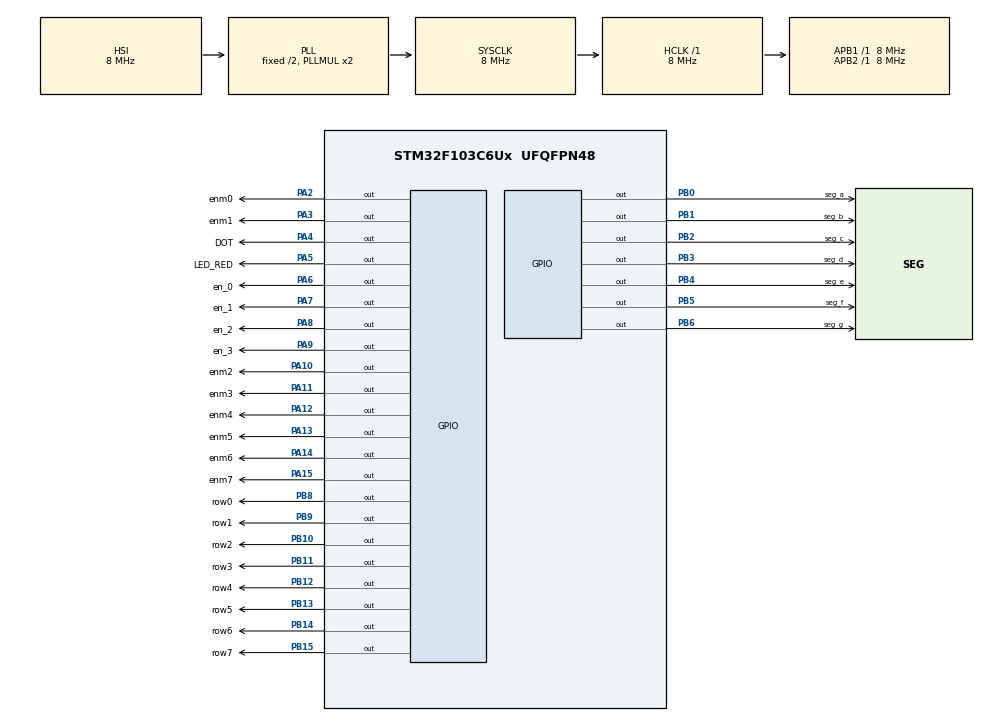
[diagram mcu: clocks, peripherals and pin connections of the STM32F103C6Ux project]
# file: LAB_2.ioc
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Mcu.Family=STM32F1
Mcu.Name=STM32F103C6Ux
Mcu.Package=UFQFPN48
NVIC.PriorityGroup=NVIC_PRIORITYGROUP_4
NVIC.TIM2_IRQn=true\:0\:0\:false\:false\:true\:true\:true\:true
PA10.GPIO_Label=enm2
PA10.Signal=GPIO_Output
PA11.GPIO_Label=enm3
PA11.Signal=GPIO_Output
PA12.GPIO_Label=enm4
PA12.Signal=GPIO_Output
PA13.GPIO_Label=enm5
PA13.Signal=GPIO_Output
PA14.GPIO_Label=enm6
PA14.Signal=GPIO_Output
PA15.GPIO_Label=enm7
PA15.Signal=GPIO_Output
PA2.GPIO_Label=enm0
PA2.Signal=GPIO_Output
PA3.GPIO_Label=enm1
PA3.Signal=GPIO_Output
PA4.GPIO_Label=DOT
PA4.Signal=GPIO_Output
PA5.GPIO_Label=LED_RED
PA5.Signal=GPIO_Output
PA6.GPIO_Label=en_0
PA6.Signal=GPIO_Output
PA7.GPIO_Label=en_1
PA7.Signal=GPIO_Output
PA8.GPIO_Label=en_2
PA8.Signal=GPIO_Output
PA9.GPIO_Label=en_3
PA9.Signal=GPIO_Output
PB0.GPIO_Label=seg_a
PB0.Signal=GPIO_Output
PB1.GPIO_Label=seg_b
PB1.Signal=GPIO_Output
PB10.GPIO_Label=row2
PB10.Signal=GPIO_Output
PB11.GPIO_Label=row3
PB11.Signal=GPIO_Output
PB12.GPIO_Label=row4
PB12.Signal=GPIO_Output
PB13.GPIO_Label=row5
PB13.Signal=GPIO_Output
PB14.GPIO_Label=row6
PB14.Signal=GPIO_Output
PB15.GPIO_Label=row7
PB15.Signal=GPIO_Output
PB2.GPIO_Label=seg_c
PB2.Signal=GPIO_Output
PB3.GPIO_Label=seg_d
PB3.Signal=GPIO_Output
PB4.GPIO_Label=seg_e
PB4.Signal=GPIO_Output
PB5.GPIO_Label=seg_f
PB5.Signal=GPIO_Output
PB6.GPIO_Label=seg_g
PB6.Signal=GPIO_Output
PB8.GPIO_Label=row0
PB8.Signal=GPIO_Output
PB9.GPIO_Label=row1
PB9.Signal=GPIO_Output
ProjectManager.HeapSize=0x200
ProjectManager.StackSize=0x400
ProjectManager.TargetToolchain=STM32CubeIDE
RCC.AHBFreq_Value=8000000
RCC.APB1Freq_Value=8000000
RCC.APB1TimFreq_Value=8000000
RCC.APB2Freq_Value=8000000
RCC.APB2TimFreq_Value=8000000
RCC.HCLKFreq_Value=8000000
RCC.SYSCLKFreq_VALUE=8000000
RCC.SYSCLKSource=RCC_SYSCLKSOURCE_PLLCLK
RCC.USBFreq_Value=8000000
TIM2.Period=9
TIM2.Prescaler=7999
VP_SYS_VS_ND.Mode=No_Debug
VP_TIM2_VS_ClockSourceINT.Mode=Internal
board=custom

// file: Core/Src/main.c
/* USER CODE BEGIN Header */
/**
  ******************************************************************************
  * @file           : main.c
  * @course			: MPU - MCU
  * @lab number		: 2
  * @exercises		: 1 to 10
  * @brief          : Led multiplex and led matrix
  ******************************************************************************
  * @attention
  *
  * Copyright (c) 2025 STMicroelectronics.
  * All rights reserved.
  *
  * This software is licensed under terms that can be found in the LICENSE file
  * in the root directory of this software component.
  * If no LICENSE file comes with this software, it is provided AS-IS.
  *
  ******************************************************************************
  */
/* USER CODE END Header */
#include "main.h"

/* USER CODE BEGIN Includes */
#include "timer.h"
/* USER CODE END Includes */

/* USER CODE BEGIN PTD */
GPIO_TypeDef* COL_PORT[8] = {GPIOA, GPIOA, GPIOA, GPIOA, GPIOA, GPIOA, GPIOA, GPIOA};
uint16_t COL_PIN[8] = {enm0_Pin, enm1_Pin, enm2_Pin, enm3_Pin,
                       enm4_Pin, enm5_Pin, enm6_Pin, enm7_Pin};

GPIO_TypeDef* ROW_PORT[8] = {GPIOB, GPIOB, GPIOB, GPIOB, GPIOB, GPIOB, GPIOB, GPIOB};
uint16_t ROW_PIN[8] = {row0_Pin, row1_Pin, row2_Pin, row3_Pin,
                       row4_Pin, row5_Pin, row6_Pin, row7_Pin};
/* USER CODE END PTD */

TIM_HandleTypeDef htim2;

/* USER CODE BEGIN PV */
const int MAX_LED = 4;
int index_led = 0;
int led_buffer[4] = {1, 2, 3, 4};
int hour = 12, minute = 34, second = 50;

const int MAX_LED_MATRIX = 8;
int index_led_matrix = 0;
int current_col = 0;
uint8_t matrix_buffer[8];

uint8_t letter_A[8] = {
  0b00000000,
  0b00000000,
  0b01111100,
  0b00010010,
  0b00010010,
  0b01111100,
  0b00000000,
  0b00000000
};
/* USER CODE END PV */

void SystemClock_Config(void);
static void MX_GPIO_Init(void);
static void MX_TIM2_Init(void);

/* USER CODE BEGIN 0 */
void display7SEG(int num) {
	switch (num) {
	case 0:
		HAL_GPIO_WritePin(seg_a_GPIO_Port, seg_a_Pin, 0);
		HAL_GPIO_WritePin(seg_b_GPIO_Port, seg_b_Pin, 0);
		HAL_GPIO_WritePin(seg_c_GPIO_Port, seg_c_Pin, 0);
		HAL_GPIO_WritePin(seg_d_GPIO_Port, seg_d_Pin, 0);
		HAL_GPIO_WritePin(seg_e_GPIO_Port, seg_e_Pin, 0);
		HAL_GPIO_WritePin(seg_f_GPIO_Port, seg_f_Pin, 0);
		HAL_GPIO_WritePin(seg_g_GPIO_Port, seg_g_Pin, 1);
		break;
	case 1:
		HAL_GPIO_WritePin(seg_a_GPIO_Port, seg_a_Pin, 1);
		HAL_GPIO_WritePin(seg_b_GPIO_Port, seg_b_Pin, 0);
		HAL_GPIO_WritePin(seg_c_GPIO_Port, seg_c_Pin, 0);
		HAL_GPIO_WritePin(seg_d_GPIO_Port, seg_d_Pin, 1);
		HAL_GPIO_WritePin(seg_e_GPIO_Port, seg_e_Pin, 1);
		HAL_GPIO_WritePin(seg_f_GPIO_Port, seg_f_Pin, 1);
		HAL_GPIO_WritePin(seg_g_GPIO_Port, seg_g_Pin, 1);
		break;
	case 2:
		HAL_GPIO_WritePin(seg_a_GPIO_Port, seg_a_Pin, 0);
		HAL_GPIO_WritePin(seg_b_GPIO_Port, seg_b_Pin, 0);
		HAL_GPIO_WritePin(seg_c_GPIO_Port, seg_c_Pin, 1);
		HAL_GPIO_WritePin(seg_d_GPIO_Port, seg_d_Pin, 0);
		HAL_GPIO_WritePin(seg_e_GPIO_Port, seg_e_Pin, 0);
		HAL_GPIO_WritePin(seg_f_GPIO_Port, seg_f_Pin, 1);
		HAL_GPIO_WritePin(seg_g_GPIO_Port, seg_g_Pin, 0);
		break;
	case 3:
		HAL_GPIO_WritePin(seg_a_GPIO_Port, seg_a_Pin, 0);
		HAL_GPIO_WritePin(seg_b_GPIO_Port, seg_b_Pin, 0);
		HAL_GPIO_WritePin(seg_c_GPIO_Port, seg_c_Pin, 0);
		HAL_GPIO_WritePin(seg_d_GPIO_Port, seg_d_Pin, 0);
		HAL_GPIO_WritePin(seg_e_GPIO_Port, seg_e_Pin, 1);
		HAL_GPIO_WritePin(seg_f_GPIO_Port, seg_f_Pin, 1);
		HAL_GPIO_WritePin(seg_g_GPIO_Port, seg_g_Pin, 0);
		break;
	case 4:
		HAL_GPIO_WritePin(seg_a_GPIO_Port, seg_a_Pin, 1);
		HAL_GPIO_WritePin(seg_b_GPIO_Port, seg_b_Pin, 0);
		HAL_GPIO_WritePin(seg_c_GPIO_Port, seg_c_Pin, 0);
		HAL_GPIO_WritePin(seg_d_GPIO_Port, seg_d_Pin, 1);
		HAL_GPIO_WritePin(seg_e_GPIO_Port, seg_e_Pin, 1);
		HAL_GPIO_WritePin(seg_f_GPIO_Port, seg_f_Pin, 0);
		HAL_GPIO_WritePin(seg_g_GPIO_Port, seg_g_Pin, 0);
		break;
	case 5:
		HAL_GPIO_WritePin(seg_a_GPIO_Port, seg_a_Pin, 0);
		HAL_GPIO_WritePin(seg_b_GPIO_Port, seg_b_Pin, 1);
		HAL_GPIO_WritePin(seg_c_GPIO_Port, seg_c_Pin, 0);
		HAL_GPIO_WritePin(seg_d_GPIO_Port, seg_d_Pin, 0);
		HAL_GPIO_WritePin(seg_e_GPIO_Port, seg_e_Pin, 1);
		HAL_GPIO_WritePin(seg_f_GPIO_Port, seg_f_Pin, 0);
		HAL_GPIO_WritePin(seg_g_GPIO_Port, seg_g_Pin, 0);
		break;
	case 6:
		HAL_GPIO_WritePin(seg_a_GPIO_Port, seg_a_Pin, 0);
		HAL_GPIO_WritePin(seg_b_GPIO_Port, seg_b_Pin, 1);
		HAL_GPIO_WritePin(seg_c_GPIO_Port, seg_c_Pin, 0);
		HAL_GPIO_WritePin(seg_d_GPIO_Port, seg_d_Pin, 0);
		HAL_GPIO_WritePin(seg_e_GPIO_Port, seg_e_Pin, 0);
		HAL_GPIO_WritePin(seg_f_GPIO_Port, seg_f_Pin, 0);
		HAL_GPIO_WritePin(seg_g_GPIO_Port, seg_g_Pin, 0);
		break;
	case 7:
		HAL_GPIO_WritePin(seg_a_GPIO_Port, seg_a_Pin, 0);
		HAL_GPIO_WritePin(seg_b_GPIO_Port, seg_b_Pin, 0);
		HAL_GPIO_WritePin(seg_c_GPIO_Port, seg_c_Pin, 0);
		HAL_GPIO_WritePin(seg_d_GPIO_Port, seg_d_Pin, 1);
		HAL_GPIO_WritePin(seg_e_GPIO_Port, seg_e_Pin, 1);
		HAL_GPIO_WritePin(seg_f_GPIO_Port, seg_f_Pin, 1);
		HAL_GPIO_WritePin(seg_g_GPIO_Port, seg_g_Pin, 1);
		break;
	case 8:
		HAL_GPIO_WritePin(seg_a_GPIO_Port, seg_a_Pin, 0);
		HAL_GPIO_WritePin(seg_b_GPIO_Port, seg_b_Pin, 0);
		HAL_GPIO_WritePin(seg_c_GPIO_Port, seg_c_Pin, 0);
		HAL_GPIO_WritePin(seg_d_GPIO_Port, seg_d_Pin, 0);
		HAL_GPIO_WritePin(seg_e_GPIO_Port, seg_e_Pin, 0);
		HAL_GPIO_WritePin(seg_f_GPIO_Port, seg_f_Pin, 0);
		HAL_GPIO_WritePin(seg_g_GPIO_Port, seg_g_Pin, 0);
		break;
	case 9:
		HAL_GPIO_WritePin(seg_a_GPIO_Port, seg_a_Pin, 0);
		HAL_GPIO_WritePin(seg_b_GPIO_Port, seg_b_Pin, 0);
		HAL_GPIO_WritePin(seg_c_GPIO_Port, seg_c_Pin, 0);
		HAL_GPIO_WritePin(seg_d_GPIO_Port, seg_d_Pin, 0);
		HAL_GPIO_WritePin(seg_e_GPIO_Port, seg_e_Pin, 1);
		HAL_GPIO_WritePin(seg_f_GPIO_Port, seg_f_Pin, 0);
		HAL_GPIO_WritePin(seg_g_GPIO_Port, seg_g_Pin, 0);
		break;
	default:
		HAL_GPIO_WritePin(seg_a_GPIO_Port, seg_a_Pin, 1);
		HAL_GPIO_WritePin(seg_b_GPIO_Port, seg_b_Pin, 1);
		HAL_GPIO_WritePin(seg_c_GPIO_Port, seg_c_Pin, 1);
		HAL_GPIO_WritePin(seg_d_GPIO_Port, seg_d_Pin, 1);
		HAL_GPIO_WritePin(seg_e_GPIO_Port, seg_e_Pin, 1);
		HAL_GPIO_WritePin(seg_f_GPIO_Port, seg_f_Pin, 1);
		HAL_GPIO_WritePin(seg_g_GPIO_Port, seg_g_Pin, 1);
	}
}
void ex1() {
	static uint8_t segled1_on = 1;
	if (segled1_on) {
		HAL_GPIO_WritePin(en_0_GPIO_Port, en_0_Pin, 0);
		HAL_GPIO_WritePin(en_1_GPIO_Port, en_1_Pin, 1);
		display7SEG(1);
	}
	else {
		HAL_GPIO_WritePin(en_0_GPIO_Port, en_0_Pin, 1);
		HAL_GPIO_WritePin(en_1_GPIO_Port, en_1_Pin, 0);
		display7SEG(2);
	}

	if (timer1_flag == 1) {
		segled1_on = !segled1_on;
		setTimer1(50);						// setTimer1() resets timer1_flag
	}
}
void ex2() {
	static uint8_t state1 = 0;				// 4 7segment leds
	static uint8_t state2 = 1;				// blink 2 leds DOT

	switch (state1) {
	 case 0:
		HAL_GPIO_WritePin(en_0_GPIO_Port, en_0_Pin, 0);
		HAL_GPIO_WritePin(en_1_GPIO_Port, en_1_Pin, 1);
		HAL_GPIO_WritePin(en_2_GPIO_Port, en_2_Pin, 1);
		HAL_GPIO_WritePin(en_3_GPIO_Port, en_3_Pin, 1);
		display7SEG(1);
		break;
	 case 1:
		HAL_GPIO_WritePin(en_0_GPIO_Port, en_0_Pin, 1);
		HAL_GPIO_WritePin(en_1_GPIO_Port, en_1_Pin, 0);
		HAL_GPIO_WritePin(en_2_GPIO_Port, en_2_Pin, 1);
		HAL_GPIO_WritePin(en_3_GPIO_Port, en_3_Pin, 1);
		display7SEG(2);
		break;
	 case 2:
		HAL_GPIO_WritePin(en_0_GPIO_Port, en_0_Pin, 1);
		HAL_GPIO_WritePin(en_1_GPIO_Port, en_1_Pin, 1);
		HAL_GPIO_WritePin(en_2_GPIO_Port, en_2_Pin, 0);
		HAL_GPIO_WritePin(en_3_GPIO_Port, en_3_Pin, 1);
		display7SEG(3);
		break;
	 case 3:
		HAL_GPIO_WritePin(en_0_GPIO_Port, en_0_Pin, 1);
		HAL_GPIO_WritePin(en_1_GPIO_Port, en_1_Pin, 1);
		HAL_GPIO_WritePin(en_2_GPIO_Port, en_2_Pin, 1);
		HAL_GPIO_WritePin(en_3_GPIO_Port, en_3_Pin, 0);
		display7SEG(0);
		break;
	 default:
		display7SEG(9);
	}

	if (state2) {
		HAL_GPIO_WritePin(DOT_GPIO_Port, DOT_Pin, 0);
	}
	else {
		HAL_GPIO_WritePin(DOT_GPIO_Port, DOT_Pin, 1);
	}

	if (timer1_flag == 1) {
		state1++;
		if (state1 > 3) {
			state1 = 0;
		}
		setTimer1(50);						// setTimer1() resets timer1_flag
	}
	if (timer2_flag == 1) {
		state2 = !state2;
		setTimer2(100);
	}
}
void update7SEG(int index){
	switch (index){
		case 0:
			HAL_GPIO_WritePin(en_0_GPIO_Port, en_0_Pin, 0);
			HAL_GPIO_WritePin(en_1_GPIO_Port, en_1_Pin, 1);
			HAL_GPIO_WritePin(en_2_GPIO_Port, en_2_Pin, 1);
			HAL_GPIO_WritePin(en_3_GPIO_Port, en_3_Pin, 1);
			display7SEG(led_buffer[0]);
			break;
		case 1:
			HAL_GPIO_WritePin(en_0_GPIO_Port, en_0_Pin, 1);
			HAL_GPIO_WritePin(en_1_GPIO_Port, en_1_Pin, 0);
			HAL_GPIO_WritePin(en_2_GPIO_Port, en_2_Pin, 1);
			HAL_GPIO_WritePin(en_3_GPIO_Port, en_3_Pin, 1);
			display7SEG(led_buffer[1]);
			break;
		case 2:
			HAL_GPIO_WritePin(en_0_GPIO_Port, en_0_Pin, 1);
			HAL_GPIO_WritePin(en_1_GPIO_Port, en_1_Pin, 1);
			HAL_GPIO_WritePin(en_2_GPIO_Port, en_2_Pin, 0);
			HAL_GPIO_WritePin(en_3_GPIO_Port, en_3_Pin, 1);
			display7SEG(led_buffer[2]);
			break;
		case 3:
			HAL_GPIO_WritePin(en_0_GPIO_Port, en_0_Pin, 1);
			HAL_GPIO_WritePin(en_1_GPIO_Port, en_1_Pin, 1);
			HAL_GPIO_WritePin(en_2_GPIO_Port, en_2_Pin, 1);
			HAL_GPIO_WritePin(en_3_GPIO_Port, en_3_Pin, 0);
			display7SEG(led_buffer[3]);
			break;
		default:
			display7SEG(9);
	}
}
void ex3() {
	if (timer1_flag == 1) {
		update7SEG(index_led);
		index_led++;
		if (index_led >= MAX_LED) {
			index_led = 0;
		}
		setTimer1(50);
	}
}
void ex4() {
	static uint8_t blink_dot = 1;
	if (blink_dot) {
		HAL_GPIO_WritePin(DOT_GPIO_Port, DOT_Pin, 0);
	}
	else {
		HAL_GPIO_WritePin(DOT_GPIO_Port, DOT_Pin, 1);
	}

	if (timer1_flag == 1) {
		update7SEG(index_led);
		index_led++;
		if (index_led >= MAX_LED) {
			index_led = 0;
		}
		setTimer1(25);
	}
	if (timer2_flag == 1) {
		blink_dot = !blink_dot;
		setTimer2(100);
	}
}
void updateClockBuffer() {
    led_buffer[0] = hour / 10;
    led_buffer[1] = hour % 10;
    led_buffer[2] = minute / 10;
    led_buffer[3] = minute % 10;
}
void ex7() {
	second++;
	if (second >= 60) {
		second = 0;
		minute++;
	}
	if(minute >= 60) {
		minute = 0;
		hour++;
	}
	if(hour >= 24){
		hour = 0;
	}
	updateClockBuffer();
}
void ex8() {
	static uint8_t blink_dot = 1;

	if (blink_dot) {
		HAL_GPIO_WritePin(DOT_GPIO_Port, DOT_Pin, 0);
	}
	else {
		HAL_GPIO_WritePin(DOT_GPIO_Port, DOT_Pin, 1);
	}

	if (timer1_flag == 1) {
		update7SEG(index_led);
		index_led++;
		if (index_led >= MAX_LED) {
			index_led = 0;
		}
		setTimer1(25);
	}
	if (timer2_flag == 1) {
		blink_dot = !blink_dot;
		ex7();
		setTimer2(100);
	}
}
void clearAllMatrix() {
	for (int i = 0; i < 8; i++) {
		HAL_GPIO_WritePin(COL_PORT[i], COL_PIN[i], 1);
		HAL_GPIO_WritePin(ROW_PORT[i], ROW_PIN[i], 1);
	}
}
void updateLEDMatrix(int index){
	clearAllMatrix();

	for (int row = 0; row < 8; row++) {
		if (matrix_buffer[index] & (1 << row))			// check (<row>th bit in matrix_buffer == 1) ?
			HAL_GPIO_WritePin(ROW_PORT[row], ROW_PIN[row], 0);
		else
			HAL_GPIO_WritePin(ROW_PORT[row], ROW_PIN[row], 1);
	}
	HAL_GPIO_WritePin(COL_PORT[index], COL_PIN[index], 0);
}
void ex9() {
	if (timer1_flag) {
		updateLEDMatrix(index_led_matrix);
		index_led_matrix++;
		if (index_led_matrix >= MAX_LED_MATRIX)
			index_led_matrix = 0;
		setTimer1(4);
	}
}
void shiftLeft() {
	for (int i = 0; i < 7; i++) {
		matrix_buffer[i] = matrix_buffer[i + 1];
	}
	matrix_buffer[7] = 0;
}
void ex10() {
	ex9();
	if (timer2_flag) {
		shiftLeft();
		setTimer2(33);
	}
}
/* USER CODE END 0 */

int main(void)
{

  /* MCU Configuration--------------------------------------------------------*/

  /* Reset of all peripherals, Initializes the Flash interface and the Systick. */
  HAL_Init();

  /* Configure the system clock */
  SystemClock_Config();

  /* Initialize all configured peripherals */
  MX_GPIO_Init();
  MX_TIM2_Init();
  /* USER CODE BEGIN 2 */
  HAL_TIM_Base_Start_IT(&htim2);
  HAL_GPIO_WritePin(en_0_GPIO_Port, en_0_Pin, 1);
  HAL_GPIO_WritePin(en_1_GPIO_Port, en_1_Pin, 1);
  HAL_GPIO_WritePin(en_2_GPIO_Port, en_2_Pin, 1);
  HAL_GPIO_WritePin(en_3_GPIO_Port, en_3_Pin, 1);

  clearAllMatrix();
  for (int i = 0; i < 8; i++) {
	  matrix_buffer[i] = letter_A[i];
  }

  //setTimer1(50);					// ex1,2,3
  //setTimer2(100);					// ex2,4,8
  //setTimer1(25);					// ex4,8
  setTimer1(4);					// ex9,10
  setTimer2(33);					// ex10

  /* USER CODE END 2 */

  /* Infinite loop */
  /* USER CODE BEGIN WHILE */

  while (1)
  {
	 ex10();
    /* USER CODE END WHILE */

  }
}

void SystemClock_Config(void)
{
  RCC_OscInitTypeDef RCC_OscInitStruct = {0};
  RCC_ClkInitTypeDef RCC_ClkInitStruct = {0};

  /** Initializes the RCC Oscillators according to the specified parameters
  * in the RCC_OscInitTypeDef structure.
  */
  RCC_OscInitStruct.OscillatorType = RCC_OSCILLATORTYPE_HSI;
  RCC_OscInitStruct.HSIState = RCC_HSI_ON;
  RCC_OscInitStruct.HSICalibrationValue = RCC_HSICALIBRATION_DEFAULT;
  RCC_OscInitStruct.PLL.PLLState = RCC_PLL_ON;
  RCC_OscInitStruct.PLL.PLLSource = RCC_PLLSOURCE_HSI_DIV2;
  RCC_OscInitStruct.PLL.PLLMUL = RCC_PLL_MUL2;
  if (HAL_RCC_OscConfig(&RCC_OscInitStruct) != HAL_OK)
  {
    Error_Handler();
  }

  /** Initializes the CPU, AHB and APB buses clocks
  */
  RCC_ClkInitStruct.ClockType = RCC_CLOCKTYPE_HCLK|RCC_CLOCKTYPE_SYSCLK
                              |RCC_CLOCKTYPE_PCLK1|RCC_CLOCKTYPE_PCLK2;
  RCC_ClkInitStruct.SYSCLKSource = RCC_SYSCLKSOURCE_PLLCLK;
  RCC_ClkInitStruct.AHBCLKDivider = RCC_SYSCLK_DIV1;
  RCC_ClkInitStruct.APB1CLKDivider = RCC_HCLK_DIV1;
  RCC_ClkInitStruct.APB2CLKDivider = RCC_HCLK_DIV1;

  if (HAL_RCC_ClockConfig(&RCC_ClkInitStruct, FLASH_LATENCY_0) != HAL_OK)
  {
    Error_Handler();
  }
}

static void MX_TIM2_Init(void)
{

  TIM_ClockConfigTypeDef sClockSourceConfig = {0};
  TIM_MasterConfigTypeDef sMasterConfig = {0};

  htim2.Instance = TIM2;
  htim2.Init.Prescaler = 7999;
  htim2.Init.CounterMode = TIM_COUNTERMODE_UP;
  htim2.Init.Period = 9;
  htim2.Init.ClockDivision = TIM_CLOCKDIVISION_DIV1;
  htim2.Init.AutoReloadPreload = TIM_AUTORELOAD_PRELOAD_DISABLE;
  if (HAL_TIM_Base_Init(&htim2) != HAL_OK)
  {
    Error_Handler();
  }
  sClockSourceConfig.ClockSource = TIM_CLOCKSOURCE_INTERNAL;
  if (HAL_TIM_ConfigClockSource(&htim2, &sClockSourceConfig) != HAL_OK)
  {
    Error_Handler();
  }
  sMasterConfig.MasterOutputTrigger = TIM_TRGO_RESET;
  sMasterConfig.MasterSlaveMode = TIM_MASTERSLAVEMODE_DISABLE;
  if (HAL_TIMEx_MasterConfigSynchronization(&htim2, &sMasterConfig) != HAL_OK)
  {
    Error_Handler();
  }

}

static void MX_GPIO_Init(void)
{
  GPIO_InitTypeDef GPIO_InitStruct = {0};

  /* GPIO Ports Clock Enable */
  __HAL_RCC_GPIOA_CLK_ENABLE();
  __HAL_RCC_GPIOB_CLK_ENABLE();

  /*Configure GPIO pin Output Level */
  HAL_GPIO_WritePin(GPIOA, enm0_Pin|enm1_Pin|DOT_Pin|LED_RED_Pin
                          |en_0_Pin|en_1_Pin|en_2_Pin|en_3_Pin
                          |enm2_Pin|enm3_Pin|enm4_Pin|enm5_Pin
                          |enm6_Pin|enm7_Pin, GPIO_PIN_RESET);

  /*Configure GPIO pin Output Level */
  HAL_GPIO_WritePin(GPIOB, seg_a_Pin|seg_b_Pin|seg_c_Pin|row2_Pin
                          |row3_Pin|row4_Pin|row5_Pin|row6_Pin
                          |row7_Pin|seg_d_Pin|seg_e_Pin|seg_f_Pin
                          |seg_g_Pin|row0_Pin|row1_Pin, GPIO_PIN_RESET);

  /*Configure GPIO pins : enm0_Pin enm1_Pin DOT_Pin LED_RED_Pin
                           en_0_Pin en_1_Pin en_2_Pin en_3_Pin
                           enm2_Pin enm3_Pin enm4_Pin enm5_Pin
                           enm6_Pin enm7_Pin */
  GPIO_InitStruct.Pin = enm0_Pin|enm1_Pin|DOT_Pin|LED_RED_Pin
                          |en_0_Pin|en_1_Pin|en_2_Pin|en_3_Pin
                          |enm2_Pin|enm3_Pin|enm4_Pin|enm5_Pin
                          |enm6_Pin|enm7_Pin;
  GPIO_InitStruct.Mode = GPIO_MODE_OUTPUT_PP;
  GPIO_InitStruct.Pull = GPIO_NOPULL;
  GPIO_InitStruct.Speed = GPIO_SPEED_FREQ_LOW;
  HAL_GPIO_Init(GPIOA, &GPIO_InitStruct);

  /*Configure GPIO pins : seg_a_Pin seg_b_Pin seg_c_Pin row2_Pin
                           row3_Pin row4_Pin row5_Pin row6_Pin
                           row7_Pin seg_d_Pin seg_e_Pin seg_f_Pin
                           seg_g_Pin row0_Pin row1_Pin */
  GPIO_InitStruct.Pin = seg_a_Pin|seg_b_Pin|seg_c_Pin|row2_Pin
                          |row3_Pin|row4_Pin|row5_Pin|row6_Pin
                          |row7_Pin|seg_d_Pin|seg_e_Pin|seg_f_Pin
                          |seg_g_Pin|row0_Pin|row1_Pin;
  GPIO_InitStruct.Mode = GPIO_MODE_OUTPUT_PP;
  GPIO_InitStruct.Pull = GPIO_NOPULL;
  GPIO_InitStruct.Speed = GPIO_SPEED_FREQ_LOW;
  HAL_GPIO_Init(GPIOB, &GPIO_InitStruct);

}

/* USER CODE BEGIN 4 */
//int counter = 100;
void HAL_TIM_PeriodElapsedCallback(TIM_HandleTypeDef *htim) {
	timerRun();
}
/* USER CODE END 4 */

void Error_Handler(void)
{
  __disable_irq();
  while (1)
  {
  }
}
